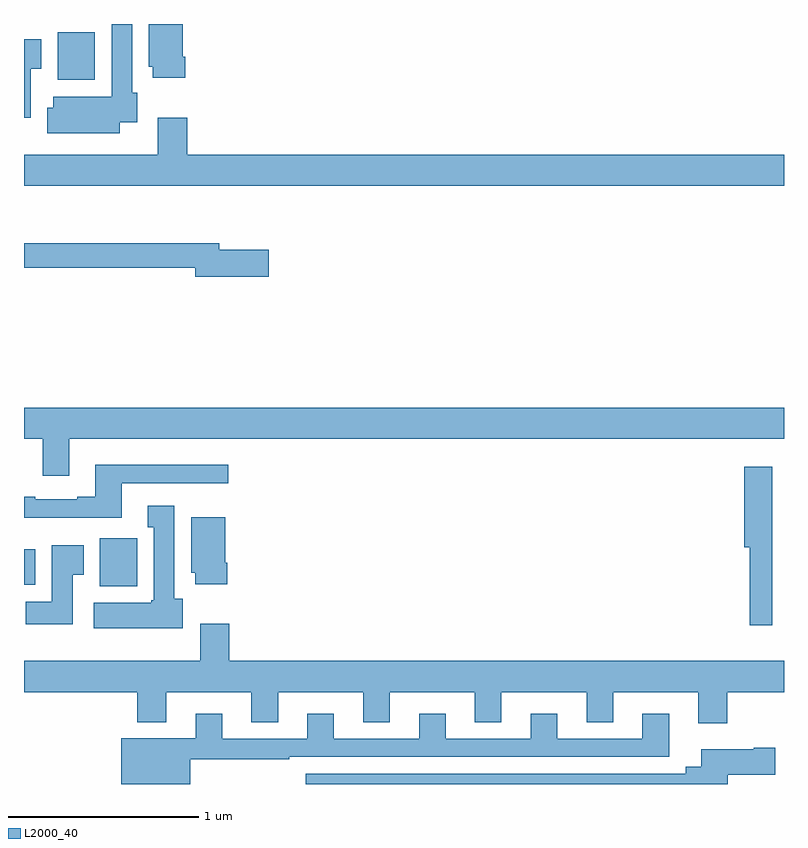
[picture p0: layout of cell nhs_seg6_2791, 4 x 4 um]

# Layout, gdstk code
import gdstk
lib = gdstk.Library(unit=1e-6, precision=1e-09)
def R(c, l, rs):  # rectangles x0, y0, x1, y1
    for r in rs: c.add(gdstk.rectangle(r[:2], r[2:], *l))
def P(c, l, *ps):  # polygons
    for p in ps: c.add(gdstk.Polygon(p, *l))
L2000_40 = (2000, 40)

nhs_seg6_2791 = lib.new_cell('nhs_seg6_2791')
R(nhs_seg6_2791, L2000_40, [(275.399,966.542,275.595,966.793), (275,966.548,275.059,966.736), (275.177,969.206,275.373,969.457)])
P(nhs_seg6_2791, L2000_40, [(275.503,968.984),(275.596,968.984),(275.596,969.138),(275.569,969.138),(275.569,969.5),(275.462,969.5),(275.462,969.118),(275.153,969.118),(275.153,969.059),(275.123,969.059),(275.123,968.924),(275.503,968.924)],
  [(275.849,969.328),(275.836,969.328),(275.836,969.5),(275.657,969.5),(275.657,969.276),(275.678,969.276),(275.678,969.216),(275.849,969.216)],
  [(275.035,969.265),(275.092,969.265),(275.092,969.421),(275,969.421),(275,969.006),(275.035,969.006)],
  [(279,968.812),(275.858,968.812),(275.858,969.007),(275.705,969.007),(275.705,968.812),(275,968.812),(275,968.648),(279,968.648)],
  [(276.289,968.313),(276.028,968.313),(276.028,968.347),(275,968.347),(275,968.218),(275.9,968.218),(275.9,968.171),(276.289,968.171)],
  [(275.239,967.316),(279,967.316),(279,967.48),(275,967.48),(275,967.316),(275.099,967.316),(275.099,967.122),(275.239,967.122)],
  [(275.515,967.083),(276.076,967.083),(276.076,967.18),(275.375,967.18),(275.375,967.012),(275.279,967.012),(275.279,966.999),(275.059,966.999),(275.059,967.012),(275,967.012),(275,966.902),(275.515,966.902)],
  [(278.937,966.85),(278.938,966.85),(278.938,967.171),(278.792,967.171),(278.792,966.746),(278.821,966.746),(278.821,966.336),(278.937,966.336)],
  [(275.836,966.474),(275.791,966.474),(275.791,966.964),(275.651,966.964),(275.651,966.851),(275.684,966.851),(275.684,966.468),(275.671,966.468),(275.671,966.454),(275.367,966.454),(275.367,966.32),(275.836,966.32)],
  [(276.071,966.664),(276.058,966.664),(276.058,966.904),(275.879,966.904),(275.879,966.612),(275.9,966.612),(275.9,966.552),(276.071,966.552)],
  [(275.257,966.601),(275.314,966.601),(275.314,966.757),(275.147,966.757),(275.147,966.46),(275.008,966.46),(275.008,966.342),(275.257,966.342)],
  [(278.702,965.984),(279,965.984),(279,966.148),(276.08,966.148),(276.08,966.343),(275.927,966.343),(275.927,966.148),(275,966.148),(275,965.984),(275.597,965.984),(275.597,965.825),(275.749,965.825),(275.749,965.984),(276.197,965.984),(276.197,965.824),(276.337,965.824),(276.337,965.984),(276.785,965.984),(276.785,965.824),(276.925,965.824),(276.925,965.984),(277.373,965.984),(277.373,965.824),(277.513,965.824),(277.513,965.984),(277.961,965.984),(277.961,965.824),(278.101,965.824),(278.101,965.984),(278.549,965.984),(278.549,965.82),(278.702,965.82)],
  [(275.875,965.631),(276.395,965.631),(276.395,965.643),(278.395,965.643),(278.395,965.869),(278.255,965.869),(278.255,965.739),(277.807,965.739),(277.807,965.869),(277.667,965.869),(277.667,965.739),(277.219,965.739),(277.219,965.869),(277.079,965.869),(277.079,965.739),(276.631,965.739),(276.631,965.869),(276.491,965.869),(276.491,965.739),(276.043,965.739),(276.043,965.869),(275.903,965.869),(275.903,965.74),(275.513,965.74),(275.513,965.5),(275.875,965.5)],
  [(278.704,965.549),(278.953,965.549),(278.953,965.691),(278.84,965.691),(278.84,965.683),(278.564,965.683),(278.564,965.59),(278.483,965.59),(278.483,965.554),(276.483,965.554),(276.483,965.5),(278.704,965.5)])

lib.write_gds('nhs_seg6_2791.gds')
